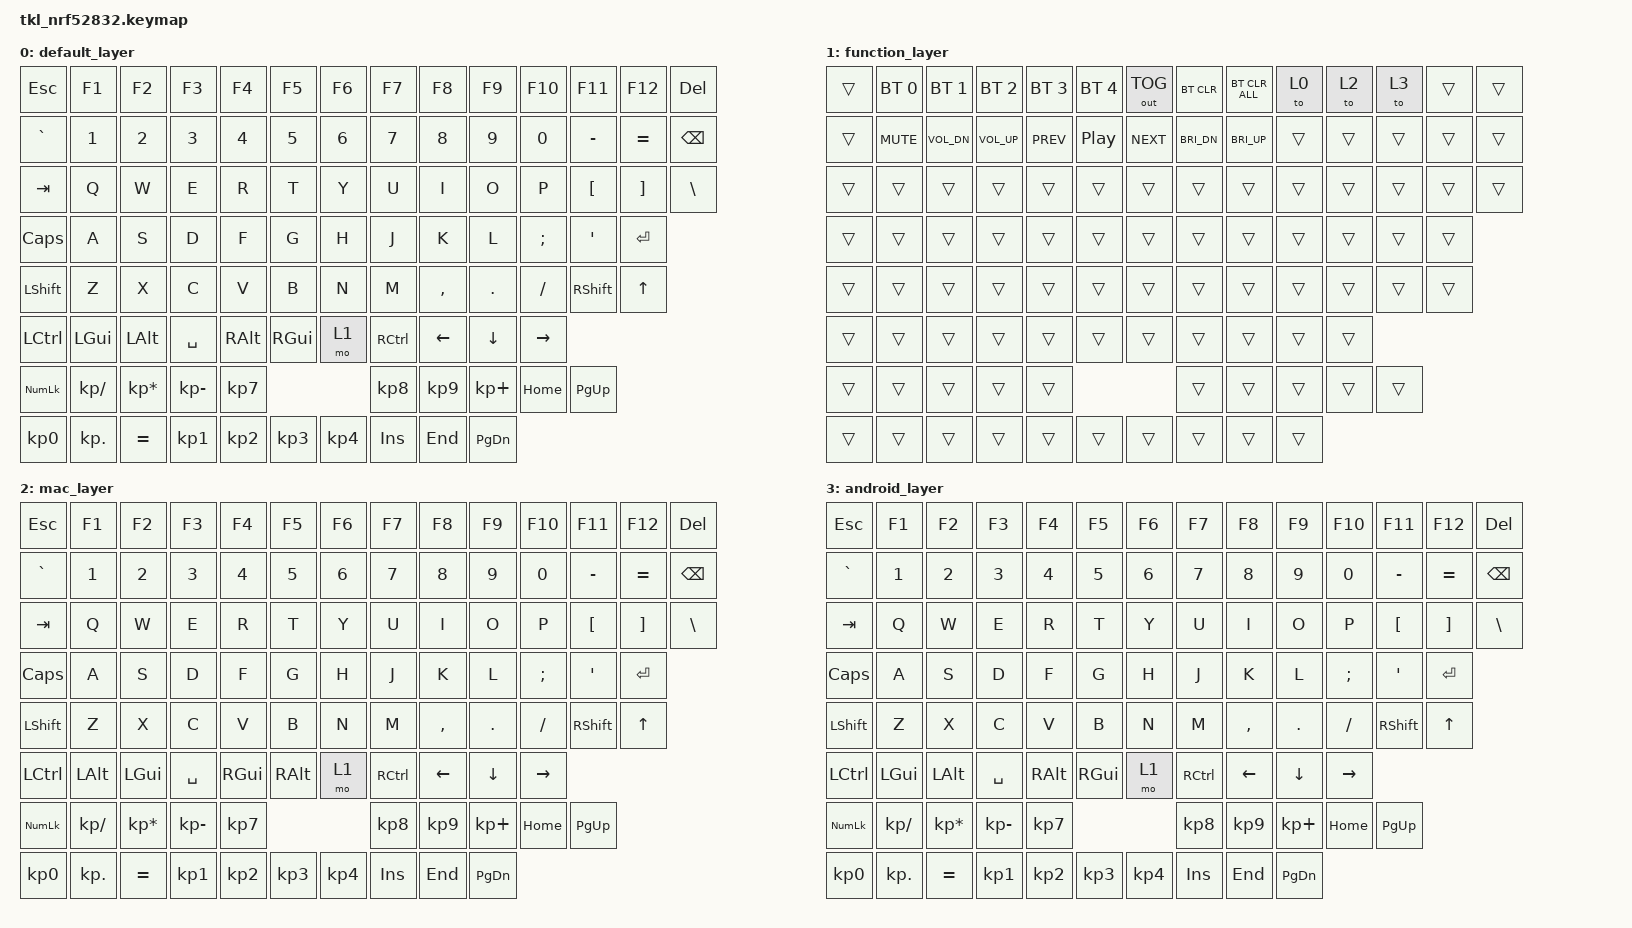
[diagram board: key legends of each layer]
/*
 * TKL Keyboard with Bluetooth & System Switching
 * 
 * Features:
 * - BLE Profiles: Switch between 5 paired devices (F1-F5 on function layer)
 * - Output Toggle: BLE/USB switching (F6 on function layer)
 * - Bluetooth Clear: Clear current profile pairing (F7/F8 on function layer)
 * - Layer switching for additional functions
 * 
 * Matrix: 8 rows × 14 columns = 99 keys
 */

#include <behaviors.dtsi>
#include <dt-bindings/zmk/keys.h>
#include <dt-bindings/zmk/bt.h>
#include <dt-bindings/zmk/outputs.h>

/ {
    /* System-Specific Behaviors for Windows, Mac, Linux, Android */
    behaviors {
        // OS Mode Toggle: Tap to switch between Windows/Mac modes
        os_mode: os_mode_toggle {
            compatible = "zmk,behavior-tap-dance";
            #binding-cells = <0>;
            tapping-term-ms = <200>;
            bindings = <&to 0>, <&to 2>;
        };

        // Windows/Linux Copy (Ctrl+C)
        win_copy: windows_copy {
            compatible = "zmk,behavior-mod-morph";
            #binding-cells = <0>;
            bindings = <&kp C>, <&kp LC(C)>;
            mods = <(MOD_LCTL|MOD_RCTL)>;
        };

        // Mac Copy (Cmd+C)
        mac_copy: mac_copy {
            compatible = "zmk,behavior-mod-morph";
            #binding-cells = <0>;
            bindings = <&kp C>, <&kp LG(C)>;
            mods = <(MOD_LGUI|MOD_RGUI)>;
        };

        // Smart GUI/ALT key for cross-platform
        smart_gui: smart_gui_key {
            compatible = "zmk,behavior-mod-morph";
            #binding-cells = <0>;
            bindings = <&kp LGUI>, <&kp LALT>;
            mods = <(MOD_LSFT)>;
        };
    };

    keymap {
        compatible = "zmk,keymap";

        /* Layer 0: Default Windows/Linux Mode */
        default_layer {
            bindings = <
                /* Row 0: ESC, F1-F12, DEL (14 keys) */
                &kp ESC   &kp F1    &kp F2    &kp F3    &kp F4    &kp F5    &kp F6    &kp F7    &kp F8    &kp F9    &kp F10   &kp F11   &kp F12   &kp DEL

                /* Row 1: Grave, 1-0, Minus, Equal, Backspace (14 keys) */
                &kp GRAVE &kp N1    &kp N2    &kp N3    &kp N4    &kp N5    &kp N6    &kp N7    &kp N8    &kp N9    &kp N0    &kp MINUS &kp EQUAL &kp BSPC

                /* Row 2: Tab, Q-P, [, ], \ (14 keys) */
                &kp TAB   &kp Q     &kp W     &kp E     &kp R     &kp T     &kp Y     &kp U     &kp I     &kp O     &kp P     &kp LBKT  &kp RBKT  &kp BSLH

                /* Row 3: Caps, A-L, ;, ', Enter (13 keys) */
                &kp CAPS  &kp A     &kp S     &kp D     &kp F     &kp G     &kp H     &kp J     &kp K     &kp L     &kp SEMI  &kp SQT   &kp RET

                /* Row 4: LShift, Z-M, ,, ., /, RShift, Up (13 keys) */
                &kp LSHFT &kp Z     &kp X     &kp C     &kp V     &kp B     &kp N     &kp M     &kp COMMA &kp DOT   &kp FSLH  &kp RSHFT &kp UP

                /* Row 5: LCtrl, LGUI, LAlt, Space, RAlt, RGUI, Fn, RCtrl, Left, Down, Right (11 keys) */
                &kp LCTRL &kp LGUI  &kp LALT  &kp SPACE &kp RALT  &kp RGUI  &mo 1     &kp RCTRL &kp LEFT  &kp DOWN  &kp RIGHT

                /* Row 6: NumLock, /, *, -, 7, 8, 9, +, Home, PgUp (10 keys) */
                &kp KP_NUM &kp KP_DIVIDE &kp KP_MULTIPLY &kp KP_MINUS &kp KP_N7 &kp KP_N8 &kp KP_N9 &kp KP_PLUS &kp HOME &kp PG_UP

                /* Row 7: 0, ., =, 1, 2, 3, 4, Ins, End, PgDn (10 keys) */
                &kp KP_N0 &kp KP_DOT &kp EQUAL &kp KP_N1 &kp KP_N2 &kp KP_N3 &kp KP_N4 &kp INS &kp END &kp PG_DN
            >;
        };

        /* Layer 1: Function Layer
         * 
         * System Mode Switching:
         * F9  = Windows/Linux Mode (Layer 0)
         * F10 = Mac Mode (Layer 2)
         * F11 = Android Mode (Layer 3)
         * 
         * Bluetooth Profile Selection:
         * F1 = BLE Profile 0 (Device 1)
         * F2 = BLE Profile 1 (Device 2)
         * F3 = BLE Profile 2 (Device 3)
         * F4 = BLE Profile 3 (Device 4)
         * F5 = BLE Profile 4 (Device 5)
         * F6 = Toggle Output (BLE/USB)
         * F7 = Clear current BLE profile
         * F8 = Clear ALL BLE profiles
         */
        function_layer {
            bindings = <
                /* Row 0: ESC, BT Controls + OS Mode Switching, DEL (14 keys) */
                &trans    &bt BT_SEL 0  &bt BT_SEL 1  &bt BT_SEL 2  &bt BT_SEL 3  &bt BT_SEL 4  &out OUT_TOG  &bt BT_CLR  &bt BT_CLR_ALL  &to 0  &to 2  &to 3  &trans  &trans

                /* Row 1: Media controls (14 keys) */
                &trans    &kp C_MUTE  &kp C_VOL_DN  &kp C_VOL_UP  &kp C_PREV  &kp C_PP  &kp C_NEXT  &kp C_BRI_DN  &kp C_BRI_UP  &trans  &trans  &trans  &trans  &trans

                /* Row 2: Additional controls (14 keys) */
                &trans    &trans    &trans    &trans    &trans    &trans    &trans    &trans    &trans    &trans    &trans    &trans    &trans    &trans

                /* Row 3 (13 keys) */
                &trans    &trans    &trans    &trans    &trans    &trans    &trans    &trans    &trans    &trans    &trans    &trans    &trans

                /* Row 4 (13 keys) */
                &trans    &trans    &trans    &trans    &trans    &trans    &trans    &trans    &trans    &trans    &trans    &trans    &trans

                /* Row 5 (11 keys) */
                &trans    &trans    &trans    &trans    &trans    &trans    &trans    &trans    &trans    &trans    &trans

                /* Row 6 (10 keys) */
                &trans    &trans    &trans    &trans    &trans    &trans    &trans    &trans    &trans    &trans

                /* Row 7 (10 keys) */
                &trans    &trans    &trans    &trans    &trans    &trans    &trans    &trans    &trans    &trans
            >;
        };

        /* Layer 2: Mac Mode
         * Optimized for macOS with Cmd key behavior
         * GUI and Alt keys are swapped for Mac layout
         */
        mac_layer {
            bindings = <
                /* Row 0: ESC, F1-F12, DEL (14 keys) */
                &kp ESC   &kp F1    &kp F2    &kp F3    &kp F4    &kp F5    &kp F6    &kp F7    &kp F8    &kp F9    &kp F10   &kp F11   &kp F12   &kp DEL

                /* Row 1: Grave, 1-0, Minus, Equal, Backspace (14 keys) */
                &kp GRAVE &kp N1    &kp N2    &kp N3    &kp N4    &kp N5    &kp N6    &kp N7    &kp N8    &kp N9    &kp N0    &kp MINUS &kp EQUAL &kp BSPC

                /* Row 2: Tab, Q-P, [, ], \ (14 keys) */
                &kp TAB   &kp Q     &kp W     &kp E     &kp R     &kp T     &kp Y     &kp U     &kp I     &kp O     &kp P     &kp LBKT  &kp RBKT  &kp BSLH

                /* Row 3: Caps, A-L, ;, ', Enter (13 keys) */
                &kp CAPS  &kp A     &kp S     &kp D     &kp F     &kp G     &kp H     &kp J     &kp K     &kp L     &kp SEMI  &kp SQT   &kp RET

                /* Row 4: LShift, Z-M, ,, ., /, RShift, Up (13 keys) */
                &kp LSHFT &kp Z     &kp X     &kp C     &kp V     &kp B     &kp N     &kp M     &kp COMMA &kp DOT   &kp FSLH  &kp RSHFT &kp UP

                /* Row 5: LCtrl, LALT (Option), LGUI (Cmd), Space, RGUI (Cmd), RALT, Fn, RCtrl, Navigation (11 keys) */
                &kp LCTRL &kp LALT  &kp LGUI  &kp SPACE &kp RGUI  &kp RALT  &mo 1     &kp RCTRL &kp LEFT  &kp DOWN  &kp RIGHT

                /* Row 6: NumLock, /, *, -, 7, 8, 9, +, Home, PgUp (10 keys) */
                &kp KP_NUM &kp KP_DIVIDE &kp KP_MULTIPLY &kp KP_MINUS &kp KP_N7 &kp KP_N8 &kp KP_N9 &kp KP_PLUS &kp HOME &kp PG_UP

                /* Row 7: 0, ., =, 1, 2, 3, 4, Ins, End, PgDn (10 keys) */
                &kp KP_N0 &kp KP_DOT &kp EQUAL &kp KP_N1 &kp KP_N2 &kp KP_N3 &kp KP_N4 &kp INS &kp END &kp PG_DN
            >;
        };

        /* Layer 3: Android/Chrome OS Mode
         * Optimized for Android devices and Chromebooks
         */
        android_layer {
            bindings = <
                /* Row 0: ESC, F1-F12, DEL (14 keys) */
                &kp ESC   &kp F1    &kp F2    &kp F3    &kp F4    &kp F5    &kp F6    &kp F7    &kp F8    &kp F9    &kp F10   &kp F11   &kp F12   &kp DEL

                /* Row 1: Grave, 1-0, Minus, Equal, Backspace (14 keys) */
                &kp GRAVE &kp N1    &kp N2    &kp N3    &kp N4    &kp N5    &kp N6    &kp N7    &kp N8    &kp N9    &kp N0    &kp MINUS &kp EQUAL &kp BSPC

                /* Row 2: Tab, Q-P, [, ], \ (14 keys) */
                &kp TAB   &kp Q     &kp W     &kp E     &kp R     &kp T     &kp Y     &kp U     &kp I     &kp O     &kp P     &kp LBKT  &kp RBKT  &kp BSLH

                /* Row 3: Caps, A-L, ;, ', Enter (13 keys) */
                &kp CAPS  &kp A     &kp S     &kp D     &kp F     &kp G     &kp H     &kp J     &kp K     &kp L     &kp SEMI  &kp SQT   &kp RET

                /* Row 4: LShift, Z-M, ,, ., /, RShift, Up (13 keys) */
                &kp LSHFT &kp Z     &kp X     &kp C     &kp V     &kp B     &kp N     &kp M     &kp COMMA &kp DOT   &kp FSLH  &kp RSHFT &kp UP

                /* Row 5: LCtrl, LGUI (Search), LAlt, Space, RAlt, RGUI, Fn, RCtrl, Navigation (11 keys) */
                &kp LCTRL &kp LGUI  &kp LALT  &kp SPACE &kp RALT  &kp RGUI  &mo 1     &kp RCTRL &kp LEFT  &kp DOWN  &kp RIGHT

                /* Row 6: NumLock, /, *, -, 7, 8, 9, +, Home, PgUp (10 keys) */
                &kp KP_NUM &kp KP_DIVIDE &kp KP_MULTIPLY &kp KP_MINUS &kp KP_N7 &kp KP_N8 &kp KP_N9 &kp KP_PLUS &kp HOME &kp PG_UP

                /* Row 7: 0, ., =, 1, 2, 3, 4, Ins, End, PgDn (10 keys) */
                &kp KP_N0 &kp KP_DOT &kp EQUAL &kp KP_N1 &kp KP_N2 &kp KP_N3 &kp KP_N4 &kp INS &kp END &kp PG_DN
            >;
        };
    };
};
